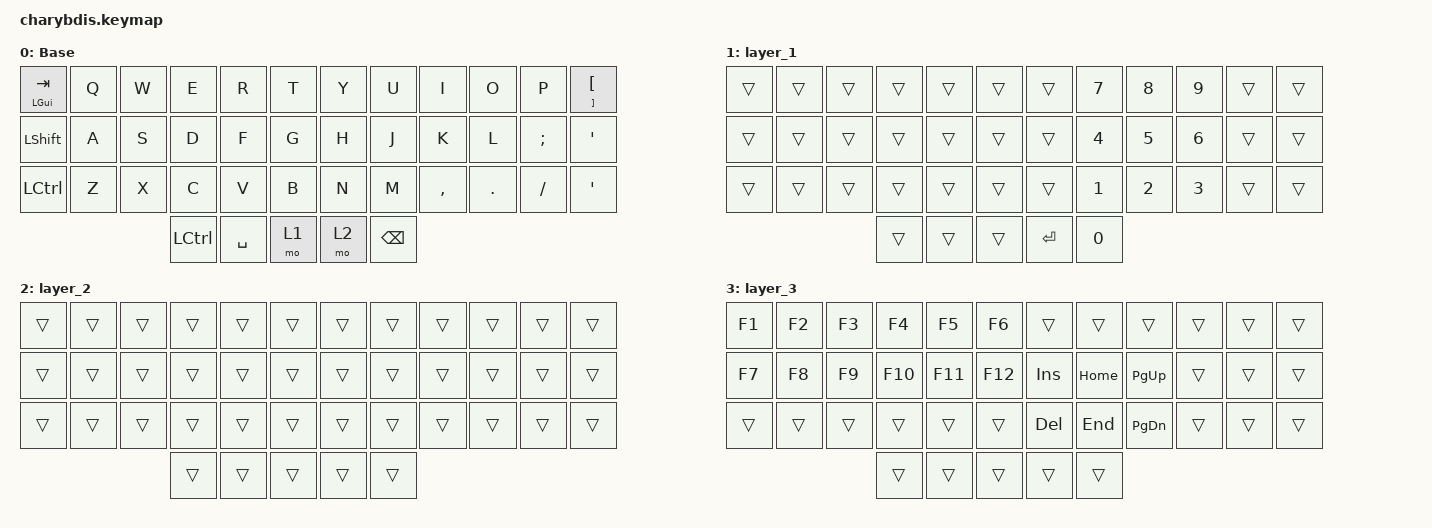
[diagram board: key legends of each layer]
#include <dt-bindings/zmk/mouse.h>
#include <behaviors.dtsi>
#include <dt-bindings/zmk/keys.h>
#include <dt-bindings/zmk/pointing.h>

&lt {
    tapping-term-ms = <200>;
    flavor = "balanced";
    quick-tap-ms = <150>;
};

/ {
    combos {
        compatible = "zmk,combos";

        caps {
            bindings = <&caps_word>;
            key-positions = <17 18>;
        };

        lclk {
            bindings = <&mkp LCLK>;
            key-positions = <19 20>;
        };
    };

    keymap {
        compatible = "zmk,keymap";

        Base {
            bindings = <
&mt LEFT_GUI TAB  &kp Q  &kp W  &kp E      &kp R      &kp T    &kp Y  &kp U          &kp I      &kp O    &kp P     &mt RIGHT_BRACKET LEFT_BRACKET
&kp LEFT_SHIFT    &kp A  &kp S  &kp D      &kp F      &kp G    &kp H  &kp J          &kp K      &kp L    &kp SEMI  &kp SQT
&kp LCTRL         &kp Z  &kp X  &kp C      &kp V      &kp B    &kp N  &kp M          &kp COMMA  &kp DOT  &kp FSLH  &kp APOS
                                &kp LCTRL  &kp SPACE  &mo 1    &mo 2  &kp BACKSPACE
            >;
        };

        layer_1 {
            bindings = <
&trans  &trans  &trans  &trans  &trans  &trans    &trans   &kp N7  &kp N8  &kp N9  &trans  &trans
&trans  &trans  &trans  &trans  &trans  &trans    &trans   &kp N4  &kp N5  &kp N6  &trans  &trans
&trans  &trans  &trans  &trans  &trans  &trans    &trans   &kp N1  &kp N2  &kp N3  &trans  &trans
                        &trans  &trans  &trans    &kp RET  &kp N0
            >;
        };

        layer_2 {
            bindings = <
&trans  &trans  &trans  &trans  &trans  &trans    &trans  &trans  &trans  &trans  &trans  &trans
&trans  &trans  &trans  &trans  &trans  &trans    &trans  &trans  &trans  &trans  &trans  &trans
&trans  &trans  &trans  &trans  &trans  &trans    &trans  &trans  &trans  &trans  &trans  &trans
                        &trans  &trans  &trans    &trans  &trans
            >;
        };

        layer_3 {
            bindings = <
&kp F1  &kp F2  &kp F3  &kp F4   &kp F5   &kp F6     &trans      &trans    &trans     &trans  &trans  &trans
&kp F7  &kp F8  &kp F9  &kp F10  &kp F11  &kp F12    &kp INSERT  &kp HOME  &kp PG_UP  &trans  &trans  &trans
&trans  &trans  &trans  &trans   &trans   &trans     &kp DEL     &kp END   &kp PG_DN  &trans  &trans  &trans
                        &trans   &trans   &trans     &trans      &trans
            >;
        };
    };
};
